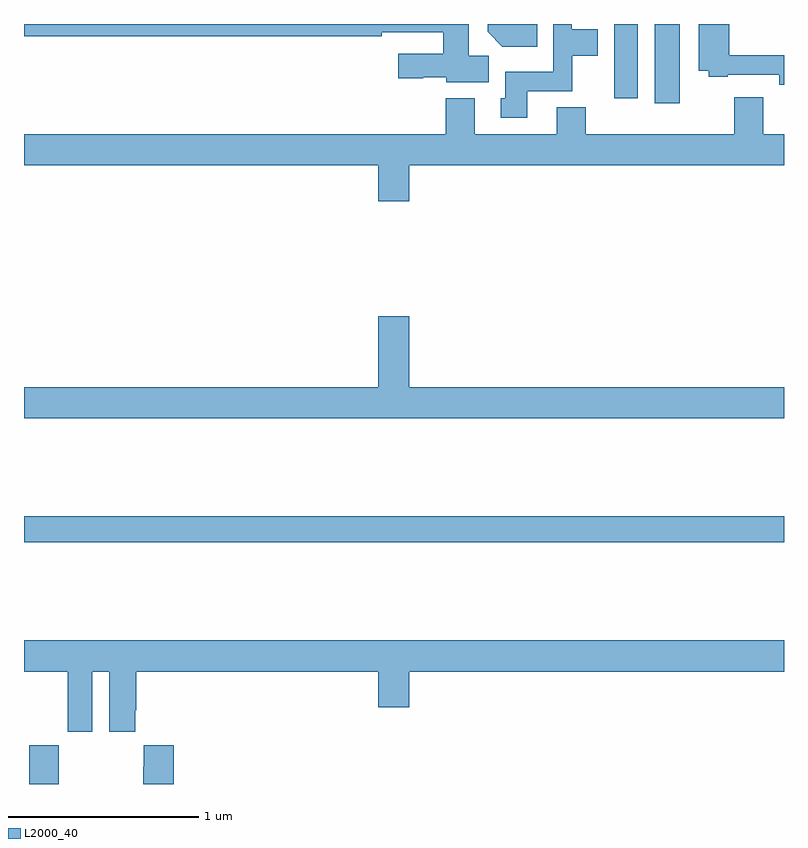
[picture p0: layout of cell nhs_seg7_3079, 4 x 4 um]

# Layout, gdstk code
import gdstk
lib = gdstk.Library(unit=1e-6, precision=1e-09)
def R(c, l, rs):  # rectangles x0, y0, x1, y1
    for r in rs: c.add(gdstk.rectangle(r[:2], r[2:], *l))
def P(c, l, *ps):  # polygons
    for p in ps: c.add(gdstk.Polygon(p, *l))
L2000_40 = (2000, 40)

nhs_seg7_3079 = lib.new_cell('nhs_seg7_3079')
R(nhs_seg7_3079, L2000_40, [(307.027,1024,307.182,1024.204), (307,1025.272,311,1025.408), (310.319,1027.584,310.45,1028), (310.106,1027.608,310.231,1028)])
P(nhs_seg7_3079, L2000_40, [(309.649,1027.646),(309.885,1027.646),(309.885,1027.832),(310.021,1027.832),(310.021,1027.972),(309.882,1027.972),(309.882,1028),(309.786,1028),(309.786,1027.75),(309.533,1027.75),(309.533,1027.608),(309.509,1027.608),(309.509,1027.506),(309.649,1027.506)],
  [(309.701,1028),(309.44,1028),(309.44,1027.958),(309.518,1027.88),(309.701,1027.88)],
  [(311,1027.835),(310.712,1027.835),(310.712,1028),(310.55,1028),(310.55,1027.754),(310.605,1027.754),(310.605,1027.722),(310.705,1027.722),(310.705,1027.734),(310.976,1027.734),(310.976,1027.679),(311,1027.679)],
  [(309.445,1027.832),(309.34,1027.832),(309.34,1028),(307,1028),(307,1027.936),(308.882,1027.936),(308.882,1027.956),(309.206,1027.956),(309.206,1027.843),(308.97,1027.843),(308.97,1027.714),(309.102,1027.714),(309.102,1027.721),(309.222,1027.721),(309.222,1027.694),(309.445,1027.694)],
  [(309.028,1027.256),(311,1027.256),(311,1027.42),(310.892,1027.42),(310.892,1027.615),(310.739,1027.615),(310.739,1027.42),(309.956,1027.42),(309.956,1027.561),(309.803,1027.561),(309.803,1027.42),(309.373,1027.42),(309.373,1027.609),(309.221,1027.609),(309.221,1027.42),(307,1027.42),(307,1027.256),(308.864,1027.256),(308.864,1027.068),(309.028,1027.068)],
  [(311,1026.088),(309.028,1026.088),(309.028,1026.463),(308.864,1026.463),(308.864,1026.088),(307,1026.088),(307,1025.924),(311,1025.924)],
  [(307.36,1024.592),(307.448,1024.592),(307.448,1024.275),(307.585,1024.275),(307.585,1024.387),(307.592,1024.387),(307.592,1024.592),(308.864,1024.592),(308.864,1024.404),(309.028,1024.404),(309.028,1024.592),(311,1024.592),(311,1024.756),(307,1024.756),(307,1024.592),(307.229,1024.592),(307.229,1024.275),(307.36,1024.275)],
  [(307.787,1024.204),(307.631,1024.204),(307.631,1024.091),(307.627,1024.091),(307.627,1024),(307.787,1024)])

lib.write_gds('nhs_seg7_3079.gds')
